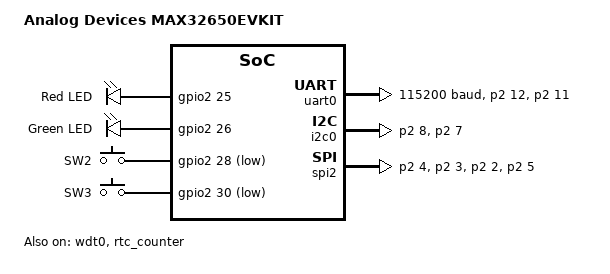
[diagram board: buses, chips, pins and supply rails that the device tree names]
/*
 * Copyright (c) 2025 Analog Devices, Inc.
 *
 * SPDX-License-Identifier: Apache-2.0
 */

/dts-v1/;

#include <adi/max32/max32650.dtsi>
#include <adi/max32/max32650-pinctrl.dtsi>
#include <zephyr/dt-bindings/gpio/adi-max32-gpio.h>
#include <zephyr/dt-bindings/input/input-event-codes.h>

/ {
	model = "Analog Devices MAX32650EVKIT";
	compatible = "adi,max32650evkit";

	chosen {
		zephyr,console = &uart0;
		zephyr,shell-uart = &uart0;
		zephyr,sram = &sram4;
		zephyr,flash = &flash0;
	};

	leds {
		compatible = "gpio-leds";

		led1: led_1 {
			gpios = <&gpio2 25 GPIO_ACTIVE_HIGH>;
			label = "Red LED";
		};

		led2: led_2 {
			gpios = <&gpio2 26 GPIO_ACTIVE_HIGH>;
			label = "Green LED";
		};
	};

	buttons {
		compatible = "gpio-keys";

		pb1: pb1 {
			gpios = <&gpio2 28 (GPIO_PULL_UP | GPIO_ACTIVE_LOW)>;
			label = "SW2";
			zephyr,code = <INPUT_KEY_0>;
		};

		pb2: pb2 {
			gpios = <&gpio2 30 (GPIO_PULL_UP | GPIO_ACTIVE_LOW)>;
			label = "SW3";
			zephyr,code = <INPUT_KEY_1>;
		};
	};

	/* These aliases are provided for compatibility with samples */
	aliases {
		led0 = &led1;
		led1 = &led2;
		watchdog0 = &wdt0;
	};
};

&uart0 {
	pinctrl-0 = <&uart0_tx_p2_12 &uart0_rx_p2_11>;
	pinctrl-names = "default";
	current-speed = <115200>;
	data-bits = <8>;
	parity = "none";
	status = "okay";
};

&clk_ipo {
	status = "okay";
};

&gpio0 {
	status = "okay";
};

&gpio1 {
	status = "okay";
};

&gpio2 {
	status = "okay";
};

&gpio3 {
	status = "okay";
};

&dma0 {
	status = "okay";
};

&i2c0 {
	pinctrl-0 = <&i2c0_scl_p2_8 &i2c0_sda_p2_7>;
	pinctrl-names = "default";
	status = "okay";
};

&spi2 {
	status = "okay";
	pinctrl-0 = <&spi2_mosi_p2_4 &spi2_miso_p2_3 &spi2_sck_p2_2 &spi2_ss0_p2_5>;
	pinctrl-names = "default";
};

&wdt0 {
	status = "okay";
};

&rtc_counter {
	status = "okay";
};
